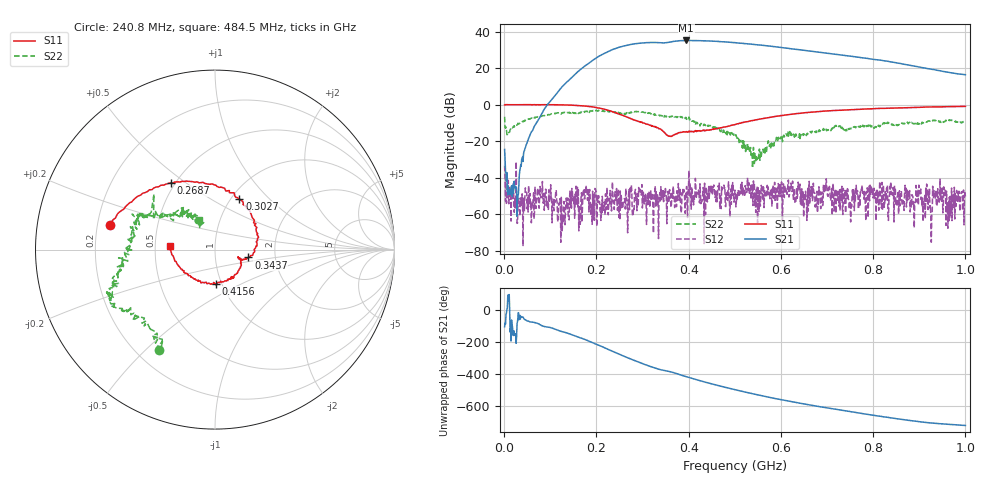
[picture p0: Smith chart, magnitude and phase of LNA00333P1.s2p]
! Created with skrf 1.9.0 (http://scikit-rf.org).
# Hz S RI R 50.0
!freq ReS11 ImS11 ReS21 ImS21 ReS12 ImS12 ReS22 ImS22
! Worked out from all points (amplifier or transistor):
!   1001 points, 1 MHz to 1 GHz, reference 50 ohm
!   highest |S21| = 35.1 dB at 394.6 MHz (marker M1)
!   |S21| within 3 dB of that: 260.2 MHz to 572.3 MHz (312.1 MHz wide, 75 % of centre)
!   unconditionally stable (mu >= 1): start of sweep to 72.48 MHz; 247.8 MHz to 400.1 MHz; 400.9 MHz to end of sweep (the widest 3 of 34)
!   at 166.8 MHz: K = 1.51, MAG = 30.5 dB, |S12| = -49.9 dB
!   at 500.5 MHz: K = 2.10, MAG = 34.4 dB, |S12| = -46.8 dB
!   at 1 GHz: K = 3.91, MAG = 24.4 dB, |S12| = -50.2 dB
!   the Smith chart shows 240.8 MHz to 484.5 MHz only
!   S11 on the Smith chart (normalised r, x): 240.8 MHz: 0.25, +0.11; 268.7 MHz: 0.47, +0.44; 302.7 MHz: 1.09, +0.68; 343.7 MHz: 1.45, -0.13; 415.6 MHz: 0.94, -0.37; 484.5 MHz: 0.60, +0.02
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1000000  0.9804 0.00358  -0.0142 -0.058  -0.0215 -0.000322  0.2883 0.3674
1.08892e8  0.5117 -0.8523  -0.7695 -1.501  0.00257 0.000714  0.4401 -0.3583
1.67833e8  -0.2512 -0.8992  -9.713 -0.7433  0.00381 -0.000866  0.0665 -0.626
2.08792e8  -0.6859 -0.3982  -15.91 15.58  -0.00113 -0.000126  -0.1863 -0.6653
2.4076e8  -0.5861 0.1346  -2.768 34.16  -0.00048 -0.00415  -0.3093 -0.5588
2.68732e8  -0.2456 0.3724  21.36 36.92  -0.000711 0.00136  -0.4692 -0.3628
3.02698e8  0.1363 0.2818  45.39 17.85  -0.000984 0.00193  -0.575 -0.2116
3.34666e8  0.2256 0.00881  48.89 -9.015  -5.48e-05 0.00021  -0.5193 -0.0479
3.43657e8  0.1861 -0.0439  46.88 -14.3  -0.00238 0.00146  -0.4905 0.00674
3.69631e8  0.1421 -0.0547  44.62 -31.08  -0.000345 0.00149  -0.4407 0.1385
3.94606e8  0.1049 -0.1493  30.35 -48.26  -0.000602 0.00292  -0.3983 0.1913
4.15585e8  0.00416 -0.1917  14.04 -54.78  0.000452 0.00561  -0.232 0.1944
4.45555e8  -0.1401 -0.1448  -9.152 -54.18  0.00472 0.000844  -0.1601 0.2105
4.84516e8  -0.2531 0.0194  -32.1 -40.4  0.00186 0.0015  -0.0872 0.1622
5.005e8  -0.2637 0.1034  -38.18 -32.15  -0.00458 -0.000196  -0.0852 0.138
5.4046e8  -0.1983 0.317  -43.2 -10.47  0.00811 0.00112  -0.0527 0.0423
5.88412e8  -0.00302 0.4759  -36.76 10.61  -0.000132 -0.00317  -0.0812 -0.0592
6.67333e8  0.3752 0.5001  -14.98 24.36  0.0005 -0.00576  -0.177 -0.0622
7.53247e8  0.667 0.2986  3.349 20.69  0.000116 -0.00158  -0.2212 -0.00259
8.34166e8  0.7981 0.0322  10.76 10.62  0.00161 -0.00162  -0.3156 -0.00837
9.09091e8  0.8211 -0.2283  9.781 2.667  -0.00197 0.000946  -0.2964 0.1149
1e9  0.7375 -0.5133  6.58 -0.5792  -0.00135 0.00278  -0.2336 0.2378
